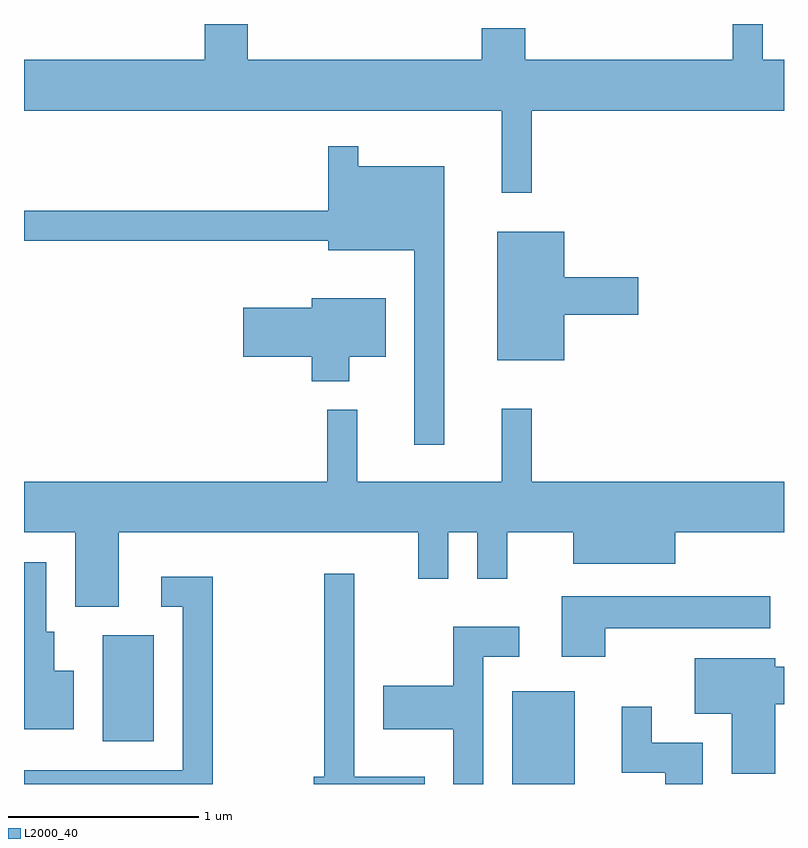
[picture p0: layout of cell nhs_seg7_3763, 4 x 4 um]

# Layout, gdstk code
import gdstk
lib = gdstk.Library(unit=1e-6, precision=1e-09)
def R(c, l, rs):  # rectangles x0, y0, x1, y1
    for r in rs: c.add(gdstk.rectangle(r[:2], r[2:], *l))
def P(c, l, *ps):  # polygons
    for p in ps: c.add(gdstk.Polygon(p, *l))
L2000_40 = (2000, 40)

nhs_seg7_3763 = lib.new_cell('nhs_seg7_3763')
R(nhs_seg7_3763, L2000_40, [(302.181,1786.252,302.509,1786.739), (300.026,1786.476,300.294,1787.034)])
P(nhs_seg7_3763, L2000_40, [(302.284,1789.796),(303.611,1789.796),(303.611,1790.064),(303.499,1790.064),(303.499,1790.252),(303.341,1790.252),(303.341,1790.064),(302.249,1790.064),(302.249,1790.229),(302.021,1790.229),(302.021,1790.064),(300.789,1790.064),(300.789,1790.252),(300.561,1790.252),(300.561,1790.064),(299.611,1790.064),(299.611,1789.796),(302.126,1789.796),(302.126,1789.363),(302.284,1789.363)],
  [(301.824,1789.504),(301.369,1789.504),(301.369,1789.608),(301.211,1789.608),(301.211,1789.269),(299.611,1789.269),(299.611,1789.111),(301.211,1789.111),(301.211,1789.061),(301.666,1789.061),(301.666,1788.038),(301.824,1788.038)],
  [(302.454,1788.721),(302.844,1788.721),(302.844,1788.919),(302.454,1788.919),(302.454,1789.159),(302.101,1789.159),(302.101,1788.481),(302.454,1788.481)],
  [(301.324,1788.501),(301.514,1788.501),(301.514,1788.809),(301.126,1788.809),(301.126,1788.759),(300.766,1788.759),(300.766,1788.501),(301.126,1788.501),(301.126,1788.371),(301.324,1788.371)],
  [(300.109,1787.576),(301.686,1787.576),(301.686,1787.333),(301.844,1787.333),(301.844,1787.576),(301.996,1787.576),(301.996,1787.333),(302.154,1787.333),(302.154,1787.576),(302.501,1787.576),(302.501,1787.411),(303.039,1787.411),(303.039,1787.576),(303.611,1787.576),(303.611,1787.844),(302.284,1787.844),(302.284,1788.228),(302.126,1788.228),(302.126,1787.844),(301.364,1787.844),(301.364,1788.223),(301.206,1788.223),(301.206,1787.844),(299.611,1787.844),(299.611,1787.576),(299.881,1787.576),(299.881,1787.186),(300.109,1787.186)],
  [(299.874,1786.849),(299.769,1786.849),(299.769,1787.054),(299.729,1787.054),(299.729,1787.419),(299.611,1787.419),(299.611,1786.541),(299.874,1786.541)],
  [(301.719,1786.289),(301.349,1786.289),(301.349,1787.358),(301.191,1787.358),(301.191,1786.289),(301.136,1786.289),(301.136,1786.252),(301.719,1786.252)],
  [(300.604,1787.344),(300.333,1787.344),(300.333,1787.186),(300.446,1787.186),(300.446,1786.324),(299.611,1786.324),(299.611,1786.252),(300.604,1786.252)],
  [(302.669,1787.071),(303.538,1787.071),(303.538,1787.239),(302.441,1787.239),(302.441,1786.921),(302.669,1786.921)],
  [(302.029,1786.921),(302.218,1786.921),(302.218,1787.079),(301.871,1787.079),(301.871,1786.769),(301.501,1786.769),(301.501,1786.541),(301.871,1786.541),(301.871,1786.252),(302.029,1786.252)],
  [(303.564,1786.671),(303.611,1786.671),(303.611,1786.869),(303.564,1786.869),(303.564,1786.914),(303.141,1786.914),(303.141,1786.621),(303.336,1786.621),(303.336,1786.306),(303.564,1786.306)],
  [(303.184,1786.469),(302.914,1786.469),(302.914,1786.658),(302.756,1786.658),(302.756,1786.311),(302.986,1786.311),(302.986,1786.252),(303.184,1786.252)])

lib.write_gds('nhs_seg7_3763.gds')
